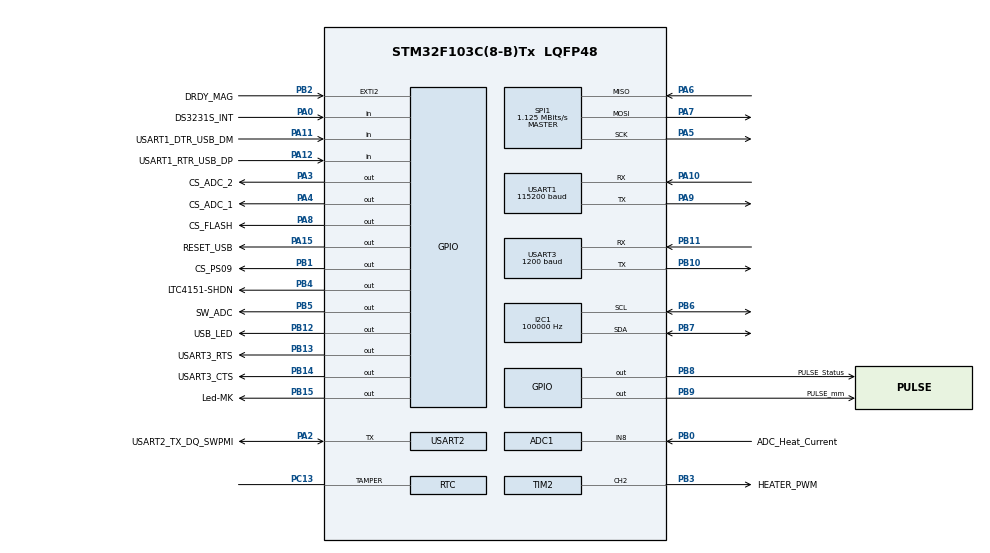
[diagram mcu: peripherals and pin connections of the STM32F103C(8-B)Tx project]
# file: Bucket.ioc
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ADC1.Channel-3\#ChannelRegularConversion=ADC_CHANNEL_8
ADC1.NbrOfConversionFlag=1
ADC1.Rank-3\#ChannelRegularConversion=1
ADC1.SamplingTime-3\#ChannelRegularConversion=ADC_SAMPLETIME_55CYCLES_5
ADC1.master=1
Dma.Request0=USART1_TX
Dma.Request1=USART2_RX
Dma.Request2=USART2_TX
Dma.USART1_TX.0.Direction=DMA_MEMORY_TO_PERIPH
Dma.USART1_TX.0.Instance=DMA1_Channel4
Dma.USART1_TX.0.MemDataAlignment=DMA_MDATAALIGN_BYTE
Dma.USART1_TX.0.MemInc=DMA_MINC_ENABLE
Dma.USART1_TX.0.Mode=DMA_NORMAL
Dma.USART1_TX.0.PeriphDataAlignment=DMA_PDATAALIGN_BYTE
Dma.USART1_TX.0.PeriphInc=DMA_PINC_DISABLE
Dma.USART1_TX.0.Priority=DMA_PRIORITY_MEDIUM
Dma.USART2_RX.1.Direction=DMA_PERIPH_TO_MEMORY
Dma.USART2_RX.1.Instance=DMA1_Channel6
Dma.USART2_RX.1.MemDataAlignment=DMA_MDATAALIGN_BYTE
Dma.USART2_RX.1.MemInc=DMA_MINC_ENABLE
Dma.USART2_RX.1.Mode=DMA_NORMAL
Dma.USART2_RX.1.PeriphDataAlignment=DMA_PDATAALIGN_BYTE
Dma.USART2_RX.1.PeriphInc=DMA_PINC_DISABLE
Dma.USART2_RX.1.Priority=DMA_PRIORITY_MEDIUM
Dma.USART2_TX.2.Direction=DMA_MEMORY_TO_PERIPH
Dma.USART2_TX.2.Instance=DMA1_Channel7
Dma.USART2_TX.2.MemDataAlignment=DMA_MDATAALIGN_BYTE
Dma.USART2_TX.2.MemInc=DMA_MINC_ENABLE
Dma.USART2_TX.2.Mode=DMA_NORMAL
Dma.USART2_TX.2.PeriphDataAlignment=DMA_PDATAALIGN_BYTE
Dma.USART2_TX.2.PeriphInc=DMA_PINC_DISABLE
Dma.USART2_TX.2.Priority=DMA_PRIORITY_MEDIUM
I2C1.ClockSpeed=100000
IWDG.Prescaler=IWDG_PRESCALER_128
IWDG.Reload=2187
Mcu.Family=STM32F1
Mcu.Name=STM32F103C(8-B)Tx
Mcu.Package=LQFP48
NVIC.ADC1_2_IRQn=true\:2\:0\:false\:false\:true\:false\:true
NVIC.DMA1_Channel4_IRQn=true\:2\:0\:false\:false\:true\:false\:true
NVIC.DMA1_Channel6_IRQn=true\:2\:0\:false\:false\:true\:false\:true
NVIC.DMA1_Channel7_IRQn=true\:2\:0\:false\:false\:true\:false\:true
NVIC.EXTI2_IRQn=true\:3\:0\:false\:false\:true\:false\:true
NVIC.I2C1_ER_IRQn=true\:2\:0\:false\:false\:true\:false\:true
NVIC.I2C1_EV_IRQn=true\:2\:0\:false\:false\:true\:false\:true
NVIC.PriorityGroup=NVIC_PRIORITYGROUP_4
NVIC.SPI1_IRQn=true\:1\:0\:false\:false\:true\:false\:true
NVIC.TIM3_IRQn=true\:0\:0\:false\:false\:true\:true\:true
NVIC.TIM4_IRQn=true\:0\:0\:false\:false\:true\:true\:true
NVIC.USART1_IRQn=true\:2\:0\:false\:false\:true\:false\:true
NVIC.USART2_IRQn=true\:2\:0\:false\:false\:true\:false\:true
NVIC.USART3_IRQn=true\:0\:0\:false\:false\:true\:false\:true
PA0-WKUP.GPIO_Label=DS3231S_INT
PA0-WKUP.GPIO_PuPd=GPIO_PULLUP
PA0-WKUP.Signal=GPIO_Input
PA10.Mode=Asynchronous
PA10.Signal=USART1_RX
PA11.GPIO_Label=USART1_DTR_USB_DM
PA11.GPIO_PuPd=GPIO_PULLUP
PA11.Signal=GPIO_Input
PA12.GPIO_Label=USART1_RTR_USB_DP
PA12.GPIO_PuPd=GPIO_PULLUP
PA12.Signal=GPIO_Input
PA13.Mode=Serial_Wire
PA13.Signal=SYS_JTMS-SWDIO
PA14.Mode=Serial_Wire
PA14.Signal=SYS_JTCK-SWCLK
PA15.GPIO_Label=RESET_USB
PA15.PinState=GPIO_PIN_SET
PA15.Signal=GPIO_Output
PA2.GPIO_Label=USART2_TX_DQ_SWPMI
PA2.Mode=Half_duplex(single_wire_mode)
PA2.Signal=USART2_TX
PA3.GPIO_Label=CS_ADC_2
PA3.GPIO_Speed=GPIO_SPEED_FREQ_LOW
PA3.PinState=GPIO_PIN_SET
PA3.Signal=GPIO_Output
PA4.GPIO_Label=CS_ADC_1
PA4.PinState=GPIO_PIN_SET
PA4.Signal=GPIO_Output
PA5.Mode=Full_Duplex_Master
PA5.Signal=SPI1_SCK
PA6.Mode=Full_Duplex_Master
PA6.Signal=SPI1_MISO
PA7.Mode=Full_Duplex_Master
PA7.Signal=SPI1_MOSI
PA8.GPIO_Label=CS_FLASH
PA8.PinState=GPIO_PIN_SET
PA8.Signal=GPIO_Output
PA9.Mode=Asynchronous
PA9.Signal=USART1_TX
PB0.GPIO_Label=ADC_Heat_Current
PB0.Signal=ADCx_IN8
PB1.GPIO_Label=CS_PS09
PB1.PinState=GPIO_PIN_SET
PB1.Signal=GPIO_Output
PB10.Mode=Asynchronous
PB10.Signal=USART3_TX
PB11.Mode=Asynchronous
PB11.Signal=USART3_RX
PB12.GPIO_Label=USB_LED
PB12.Signal=GPIO_Output
PB13.GPIO_Label=USART3_RTS
PB13.Signal=GPIO_Output
PB14.GPIO_Label=USART3_CTS
PB14.Signal=GPIO_Output
PB15.GPIO_Label=Led-MK
PB15.GPIO_ModeDefaultOutputPP=GPIO_MODE_OUTPUT_PP
PB15.Signal=GPIO_Output
PB2.GPIO_Label=DRDY_MAG
PB2.GPIO_ModeDefaultEXTI=GPIO_MODE_IT_RISING
PB2.Signal=GPXTI2
PB3.GPIO_Label=HEATER_PWM
PB3.Signal=S_TIM2_CH2
PB4.GPIO_Label=LTC4151-SHDN
PB4.PinState=GPIO_PIN_SET
PB4.Signal=GPIO_Output
PB5.GPIO_Label=SW_ADC
PB5.Signal=GPIO_Output
PB6.Mode=I2C
PB6.Signal=I2C1_SCL
PB7.Mode=I2C
PB7.Signal=I2C1_SDA
PB8.GPIO_Label=PULSE_Status
PB8.Signal=GPIO_Output
PB9.GPIO_Label=PULSE_mm
PB9.Signal=GPIO_Output
PC13-TAMPER-RTC.Mode=Tamper
PC13-TAMPER-RTC.Signal=RTC_TAMPER
PC14-OSC32_IN.Mode=LSE-External-Oscillator
PC14-OSC32_IN.Signal=RCC_OSC32_IN
PC15-OSC32_OUT.Mode=LSE-External-Oscillator
PC15-OSC32_OUT.Signal=RCC_OSC32_OUT
PD0-OSC_IN.Mode=HSE-External-Oscillator
PD0-OSC_IN.Signal=RCC_OSC_IN
PD1-OSC_OUT.Mode=HSE-External-Oscillator
PD1-OSC_OUT.Signal=RCC_OSC_OUT
ProjectManager.HeapSize=0x200
ProjectManager.StackSize=0x400
ProjectManager.TargetToolchain=STM32CubeIDE
RCC.ADCClockPrescaler=RCC_ADCPRE_PCLK_DIV6
RCC.ADCPresc=RCC_ADCPCLK2_DIV6
RCC.AHBFreq_Value=72000000
RCC.APB1CLKDivider=RCC_HCLK_DIV2
RCC.APB1Freq_Value=36000000
RCC.APB1TimFreq_Value=72000000
RCC.APB2Freq_Value=72000000
RCC.APB2TimFreq_Value=72000000
RCC.HCLKFreq_Value=72000000
RCC.HSE_VALUE=8000000
RCC.PLLMUL=RCC_PLL_MUL9
RCC.PLLSourceVirtual=RCC_PLLSOURCE_HSE
RCC.RTCClockSelection=RCC_RTCCLKSOURCE_LSE
RCC.SYSCLKFreq_VALUE=72000000
RCC.SYSCLKSource=RCC_SYSCLKSOURCE_PLLCLK
RCC.USBFreq_Value=72000000
RTC.AsynchPrediv=32767
RTC.AutoPrediv=0
SH.ADCx_IN8.0=ADC1_IN8,IN8
SH.S_TIM2_CH2.0=TIM2_CH2,PWM Generation2 CH2
SPI1.BaudRatePrescaler=SPI_BAUDRATEPRESCALER_64
SPI1.CLKPhase=SPI_PHASE_2EDGE
SPI1.CLKPolarity=SPI_POLARITY_HIGH
SPI1.CRCCalculation=SPI_CRCCALCULATION_DISABLE
SPI1.CalculateBaudRate=1.125 MBits/s
SPI1.DataSize=SPI_DATASIZE_8BIT
SPI1.Direction=SPI_DIRECTION_2LINES
SPI1.FirstBit=SPI_FIRSTBIT_MSB
SPI1.Mode=SPI_MODE_MASTER
SPI1.NSS=SPI_NSS_SOFT
SPI1.VirtualType=VM_MASTER
TIM2.Channel-PWM\ Generation2\ CH2=TIM_CHANNEL_2
TIM2.Period=9999
TIM2.Prescaler=7199
TIM3.Period=9999
TIM3.Prescaler=7199
TIM4.Period=59999
TIM4.Prescaler=7199
USART1.BaudRate=115200
USART1.HardwareFlowControl=USART_HardwareFlowControl_None
USART1.Parity=PARITY_NONE
USART1.StopBits=STOPBITS_1
USART1.VirtualMode=VM_ASYNC
USART1.WordLength=WORDLENGTH_8B
USART2.BaudRate=9600
USART2.HardwareFlowControl=USART_HardwareFlowControl_None
USART2.Parity=PARITY_NONE
USART2.StopBits=STOPBITS_1
USART2.VirtualMode=VM_ASYNC
USART2.WordLength=WORDLENGTH_8B
USART3.BaudRate=1200
USART3.Parity=PARITY_EVEN
USART3.StopBits=STOPBITS_1
USART3.VirtualMode=VM_ASYNC
USART3.WordLength=WORDLENGTH_8B
VP_IWDG_VS_IWDG.Mode=IWDG_Activate
VP_RTC_VS_RTC_Activate.Mode=RTC_Enabled
VP_RTC_VS_RTC_Calendar.Mode=RTC_Calendar
VP_TIM3_VS_ClockSourceINT.Mode=Internal
VP_TIM4_VS_ClockSourceINT.Mode=Internal
board=custom

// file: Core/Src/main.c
/* USER CODE BEGIN Header */
/**
  ******************************************************************************
  * @file           : main.c
  * @brief          : Main program body
  ******************************************************************************
  * @attention
  *
  * Copyright (c) 2026 STMicroelectronics.
  * All rights reserved.
  *
  * This software is licensed under terms that can be found in the LICENSE file
  * in the root directory of this software component.
  * If no LICENSE file comes with this software, it is provided AS-IS.
  *
  ******************************************************************************
  */
/* USER CODE END Header */
#include "main.h"
#include "adc.h"
#include "dma.h"
#include "i2c.h"
#include "iwdg.h"
#include "rtc.h"
#include "spi.h"
#include "tim.h"
#include "usart.h"
#include "gpio.h"

/* USER CODE BEGIN Includes */
#include "platform_tick.h"
#include "bsp_gpio.h"
#include "periph_spi.h"
#include "periph_usart.h"
#include "adg888.h"
#include "ad7799.h"
#include "measure_fsm.h"
#include "usb_ft232.h"
#include "super_cycle.h"
#include "platform_events.h"

#include <stddef.h>
#include <stdio.h>
/* USER CODE END Includes */

/* USER CODE BEGIN PV */
volatile uint8_t g_adc1_id = 0xFF;
volatile uint8_t g_adc2_id = 0xFF;
volatile MeasureResult_t g_measure_result; // <-- Теперь тип известен компилятору
volatile uint8_t g_measurement_complete = 0;

/* USER CODE END PV */

void SystemClock_Config(void);

int main(void)
{

  /* MCU Configuration--------------------------------------------------------*/

  /* Reset of all peripherals, Initializes the Flash interface and the Systick. */

  LL_APB2_GRP1_EnableClock(LL_APB2_GRP1_PERIPH_AFIO);
  LL_APB1_GRP1_EnableClock(LL_APB1_GRP1_PERIPH_PWR);

  NVIC_SetPriorityGrouping(NVIC_PRIORITYGROUP_4);

  /* System interrupt init*/
  /* SysTick_IRQn interrupt configuration */
  NVIC_SetPriority(SysTick_IRQn, NVIC_EncodePriority(NVIC_GetPriorityGrouping(),15, 0));

  /** NOJTAG: JTAG-DP Disabled and SW-DP Enabled
  */
  LL_GPIO_AF_Remap_SWJ_NOJTAG();

  /* Configure the system clock */
  SystemClock_Config();

  /* USER CODE BEGIN SysInit */
  LL_SYSTICK_SetClkSource(LL_SYSTICK_CLKSOURCE_HCLK);
  LL_SYSTICK_EnableIT();
  /* USER CODE END SysInit */

  /* Initialize all configured peripherals */
  MX_GPIO_Init();
  MX_DMA_Init();
  MX_ADC1_Init();
  MX_I2C1_Init();
  MX_RTC_Init();
  MX_SPI1_Init();
  MX_USART1_UART_Init();
  MX_USART2_UART_Init();

  MX_USART3_UART_Init();
 // MX_IWDG_Init();
  MX_TIM2_Init();
  MX_TIM3_Init();
  MX_TIM4_Init();
  /* USER CODE BEGIN 2 */
    /* --- Приоритеты прерываний (ТЗ 2.2.5, SysTick выше периферии!) --- */
    NVIC_SetPriority(SysTick_IRQn,         NVIC_EncodePriority(NVIC_GetPriorityGrouping(), 0, 0));
    NVIC_SetPriority(USART3_IRQn,          NVIC_EncodePriority(NVIC_GetPriorityGrouping(), 1, 0));
    NVIC_SetPriority(SPI1_IRQn,            NVIC_EncodePriority(NVIC_GetPriorityGrouping(), 2, 0));
    NVIC_SetPriority(TIM4_IRQn,            NVIC_EncodePriority(NVIC_GetPriorityGrouping(), 3, 0));
    NVIC_SetPriority(TIM3_IRQn,            NVIC_EncodePriority(NVIC_GetPriorityGrouping(), 3, 0));
    NVIC_SetPriority(USART1_IRQn,          NVIC_EncodePriority(NVIC_GetPriorityGrouping(), 4, 0));
    NVIC_SetPriority(DMA1_Channel4_IRQn,   NVIC_EncodePriority(NVIC_GetPriorityGrouping(), 5, 0));
    NVIC_SetPriority(DMA1_Channel7_IRQn,   NVIC_EncodePriority(NVIC_GetPriorityGrouping(), 5, 0));
    NVIC_SetPriority(DMA1_Channel2_IRQn,   NVIC_EncodePriority(NVIC_GetPriorityGrouping(), 5, 0));

    /* --- Слой Platform --- */
    Platform_TickInit();
    Events_Init();
    SPI_Platform_Init();
    USART_Platform_Init();
    USB_FT232_Init();

    USB_FT232_SendString("\r\n=== Bucket boot ===\r\n");
    if (Platform_TickIsRunning() == 0U) {
        for (;;) {
            USB_FT232_SendString("FATAL: SysTick IRQ not running\r\n");
            BSP_LED_V16_Toggle();
            Platform_DelayUs(500000U);
        }
    }
    USB_FT232_SendString("SysTick OK (1 ms)\r\n");

    /* --- Безопасные состояния шины ДО первого обмена --- */
    BSP_CS_ADC1_Set(1);
    BSP_CS_ADC2_Set(1);
    BSP_CS_FLASH_Set(1);
    BSP_CS_PS09_Set(1);
    ADG888_Init();

    /* --- Приложение: AD7799_Init вызывается ОДИН раз, внутри MeasureFSM_Init --- */
    MeasureFSM_Init();
    SuperCycle_Init();

    USB_FT232_Printf("D22 ID=0x%02X OFFSET=0x%06lX FS=0x%06lX\r\n",
        AD7799_ReadID(AD7799_DEV_1),
        (unsigned long)AD7799_ReadOffset(AD7799_DEV_1),
        (unsigned long)AD7799_ReadFullScale(AD7799_DEV_1));
    USB_FT232_Printf("D23 ID=0x%02X OFFSET=0x%06lX FS=0x%06lX\r\n",
        AD7799_ReadID(AD7799_DEV_2),
        (unsigned long)AD7799_ReadOffset(AD7799_DEV_2),
        (unsigned long)AD7799_ReadFullScale(AD7799_DEV_2));

    /* --- Запуск таймеров: UIF сбрасываем, иначе первое прерывание ложное --- */
    LL_TIM_ClearFlag_UPDATE(TIM3);
    LL_TIM_EnableIT_UPDATE(TIM3);
    LL_TIM_EnableCounter(TIM3);

    LL_TIM_ClearFlag_UPDATE(TIM4);
    LL_TIM_EnableIT_UPDATE(TIM4);
    LL_TIM_EnableCounter(TIM4);

    USB_FT232_SendString("Super-cycle started (TIM4 = 6 s)\r\n");
  /* USER CODE END 2 */

  /* Infinite loop */
  /* USER CODE BEGIN WHILE */

   while (1)
   {
       // 1. КОРМЛЕНИЕ СТОРОЖЕВОГО ТАЙМЕРА (Критически важно!)
       //LL_IWDG_ReloadCounter(IWDG);

	   SuperCycle_Run();

    /* USER CODE END WHILE */

  }
}

void SystemClock_Config(void)
{
  LL_FLASH_SetLatency(LL_FLASH_LATENCY_2);
  while(LL_FLASH_GetLatency()!= LL_FLASH_LATENCY_2)
  {
  }
  LL_RCC_HSE_Enable();

   /* Wait till HSE is ready */
  while(LL_RCC_HSE_IsReady() != 1)
  {

  }
  LL_RCC_LSI_Enable();

   /* Wait till LSI is ready */
  while(LL_RCC_LSI_IsReady() != 1)
  {

  }
  LL_PWR_EnableBkUpAccess();
  if(LL_RCC_GetRTCClockSource() != LL_RCC_RTC_CLKSOURCE_LSE)
  {
    LL_RCC_ForceBackupDomainReset();
    LL_RCC_ReleaseBackupDomainReset();
  }
  LL_RCC_LSE_Enable();

   /* Wait till LSE is ready */
  while(LL_RCC_LSE_IsReady() != 1)
  {

  }
  if(LL_RCC_GetRTCClockSource() != LL_RCC_RTC_CLKSOURCE_LSE)
  {
    LL_RCC_SetRTCClockSource(LL_RCC_RTC_CLKSOURCE_LSE);
  }
  LL_RCC_EnableRTC();
  LL_RCC_PLL_ConfigDomain_SYS(LL_RCC_PLLSOURCE_HSE_DIV_1, LL_RCC_PLL_MUL_9);
  LL_RCC_PLL_Enable();

   /* Wait till PLL is ready */
  while(LL_RCC_PLL_IsReady() != 1)
  {

  }
  LL_RCC_SetAHBPrescaler(LL_RCC_SYSCLK_DIV_1);
  LL_RCC_SetAPB1Prescaler(LL_RCC_APB1_DIV_2);
  LL_RCC_SetAPB2Prescaler(LL_RCC_APB2_DIV_1);
  LL_RCC_SetSysClkSource(LL_RCC_SYS_CLKSOURCE_PLL);

   /* Wait till System clock is ready */
  while(LL_RCC_GetSysClkSource() != LL_RCC_SYS_CLKSOURCE_STATUS_PLL)
  {

  }
  LL_Init1msTick(72000000);
  LL_SetSystemCoreClock(72000000);
  LL_RCC_SetADCClockSource(LL_RCC_ADC_CLKSRC_PCLK2_DIV_6);
}

void Error_Handler(void)
{
  __disable_irq();
  while (1)
  {
  }
}
